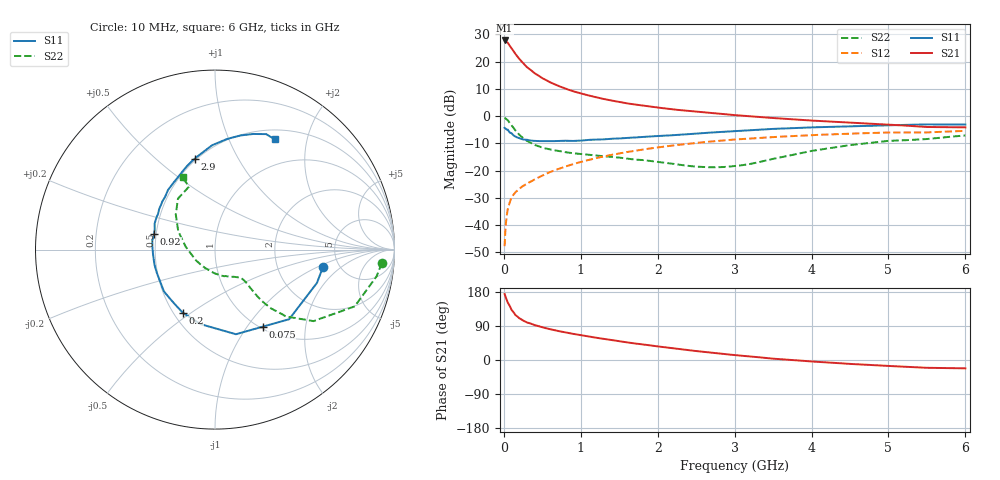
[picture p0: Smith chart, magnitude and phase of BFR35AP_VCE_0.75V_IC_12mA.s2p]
! Infineon Technologies  Discrete & RF Semiconductors
! BFR35AP
! VCE = 0.75 V,  IC =  12 mA
! Common Emitter S-Parameters:  Nov 2015
# GHz  S  MA  R  50
!  f  S11  S21  S12  S22
! GHz  MAG  ANG  MAG  ANG  MAG  ANG  MAG  ANG
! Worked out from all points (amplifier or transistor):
!   210 points, 10 MHz to 6 GHz, reference 50 ohm
!   highest |S21| = 27.8 dB at 10 MHz (marker M1)
!   |S21| within 3 dB of that: start of sweep to 104.5 MHz
!   unconditionally stable (mu >= 1): 355.3 MHz to end of sweep
!   at 185 MHz: K = 0.71, MSG = 24.3 dB, |S12| = -27.1 dB
!   at 1.52 GHz: K = 1.22, MAG = 6.5 dB, |S12| = -13.6 dB
!   at 6 GHz: K = 1.07, MAG = -1.0 dB, |S12| = -5.4 dB
!   S11 on the Smith chart (normalised r, x): 10 MHz: 3.73, -1.16; 75 MHz: 1.03, -1.19; 200 MHz: 0.56, -0.46; 920 MHz: 0.49, +0.10; 2.9 GHz: 0.49, +0.68; 6 GHz: 0.62, +1.49
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0.01  0.6092 -9.2  24.43 174.1  0.0041 85.5  0.9329 -4.6
0.02  0.5976 -18.1  24.18 167.8  0.0081 81.1  0.9124 -9.4
0.05  0.5667 -43.2  22.24 151.9  0.0193 71.5  0.8404 -22.1
0.075  0.5048 -58.3  19.67 143.2  0.0256 65.4  0.7537 -28.3
0.1  0.4858 -76.1  17.67 132.3  0.0321 61.7  0.6781 -36.0
0.15  0.423 -101.0  13.83 118.7  0.0399 57.2  0.5446 -43.2
0.2  0.3947 -117.2  11.24 110.3  0.0462 56.6  0.4546 -46.3
0.26  0.3713 -132.2  9.029 103.1  0.0533 57.0  0.3855 -47.6
0.3  0.3677 -140.7  7.923 99.1  0.0573 57.7  0.3513 -47.8
0.4  0.3505 -156.0  6.118 92.1  0.0686 59.8  0.2954 -47.4
0.5  0.3477 -166.1  4.966 86.2  0.0809 60.8  0.2631 -46.7
0.6  0.3462 -174.8  4.184 81.2  0.0938 61.5  0.2442 -46.5
0.8  0.353 171.7  3.18 72.6  0.1185 61.6  0.2174 -47.4
0.92  0.3506 165.5  2.804 68.4  0.1338 61.1  0.2067 -48.5
1.02  0.3572 160.1  2.561 64.9  0.1465 60.6  0.2006 -50.0
1.4  0.3842 144.4  1.924 52.7  0.1943 57.0  0.1787 -58.3
2.02  0.4316 124.3  1.423 35.4  0.2681 49.2  0.143 -80.8
2.9  0.5189 102.5  1.075 15.1  0.3619 36.5  0.1173 -142.4
3.1  0.5386 98.6  1.016 11.1  0.3794 33.4  0.1256 -159.1
4.1  0.6261 82.4  0.814 -5.1  0.4529 19.1  0.2408 149.6
5.1  0.683 70.5  0.687 -16.7  0.4995 5.5  0.355 123.1
6  0.6986 61.6  0.621 -22.0  0.5359 -3.7  0.4419 114.0
